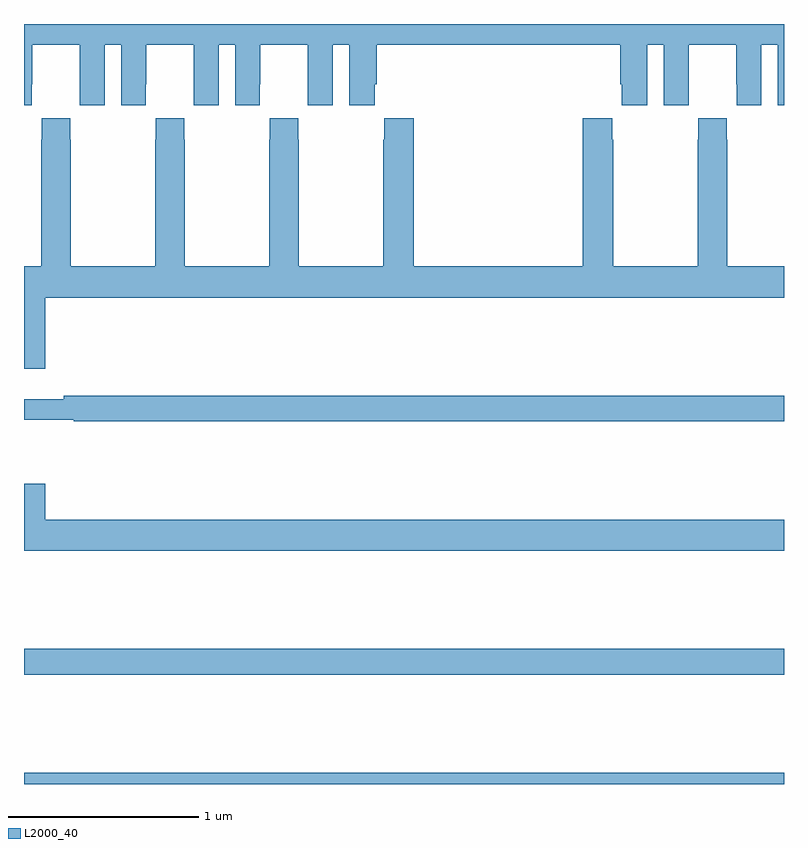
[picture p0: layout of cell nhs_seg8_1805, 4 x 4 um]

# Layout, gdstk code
import gdstk
lib = gdstk.Library(unit=1e-6, precision=1e-09)
def R(c, l, rs):  # rectangles x0, y0, x1, y1
    for r in rs: c.add(gdstk.rectangle(r[:2], r[2:], *l))
def P(c, l, *ps):  # polygons
    for p in ps: c.add(gdstk.Polygon(p, *l))
L2000_40 = (2000, 40)

nhs_seg8_1805 = lib.new_cell('nhs_seg8_1805')
R(nhs_seg8_1805, L2000_40, [(225,1153.9,229,1153.96), (225,1154.476,229,1154.612)])
P(nhs_seg8_1805, L2000_40, [(225.042,1157.584),(225.043,1157.584),(225.043,1157.792),(225.293,1157.792),(225.293,1157.584),(225.294,1157.584),(225.294,1157.472),(225.424,1157.472),(225.424,1157.792),(225.512,1157.792),(225.512,1157.472),(225.642,1157.472),(225.642,1157.584),(225.643,1157.584),(225.643,1157.792),(225.893,1157.792),(225.893,1157.584),(225.894,1157.584),(225.894,1157.472),(226.024,1157.472),(226.024,1157.792),(226.112,1157.792),(226.112,1157.472),(226.242,1157.472),(226.242,1157.584),(226.243,1157.584),(226.243,1157.792),(226.493,1157.792),(226.493,1157.584),(226.494,1157.584),(226.494,1157.472),(226.624,1157.472),(226.624,1157.792),(226.712,1157.792),(226.712,1157.472),(226.846,1157.472),(226.846,1157.584),(226.856,1157.584),(226.856,1157.792),(228.137,1157.792),(228.137,1157.584),(228.146,1157.584),(228.146,1157.472),(228.28,1157.472),(228.28,1157.792),(228.368,1157.792),(228.368,1157.472),(228.498,1157.472),(228.498,1157.584),(228.499,1157.584),(228.499,1157.792),(228.749,1157.792),(228.749,1157.584),(228.75,1157.584),(228.75,1157.472),(228.88,1157.472),(228.88,1157.792),(228.968,1157.792),(228.968,1157.472),(229,1157.472),(229,1157.9),(225,1157.9),(225,1157.472),(225.042,1157.472)],
  [(227.942,1157.404),(227.942,1156.624),(227.051,1156.624),(227.051,1157.404),(226.897,1157.404),(226.897,1157.291),(226.891,1157.291),(226.891,1156.624),(226.446,1156.624),(226.446,1157.291),(226.443,1157.291),(226.443,1157.404),(226.293,1157.404),(226.293,1157.291),(226.291,1157.291),(226.291,1156.624),(225.846,1156.624),(225.846,1157.291),(225.843,1157.291),(225.843,1157.404),(225.693,1157.404),(225.693,1157.291),(225.691,1157.291),(225.691,1156.624),(225.246,1156.624),(225.246,1157.291),(225.243,1157.291),(225.243,1157.404),(225.093,1157.404),(225.093,1157.291),(225.091,1157.291),(225.091,1156.624),(225,1156.624),(225,1156.086),(225.112,1156.086),(225.112,1156.46),(229,1156.46),(229,1156.624),(228.702,1156.624),(228.702,1157.291),(228.699,1157.291),(228.699,1157.404),(228.549,1157.404),(228.549,1157.291),(228.547,1157.291),(228.547,1156.624),(228.102,1156.624),(228.102,1157.291),(228.095,1157.291),(228.095,1157.404)],
  [(229,1155.944),(225.208,1155.944),(225.208,1155.925),(225,1155.925),(225,1155.816),(225.262,1155.816),(225.262,1155.808),(229,1155.808)],
  [(229,1155.292),(225.112,1155.292),(225.112,1155.481),(225,1155.481),(225,1155.128),(229,1155.128)])

lib.write_gds('nhs_seg8_1805.gds')
